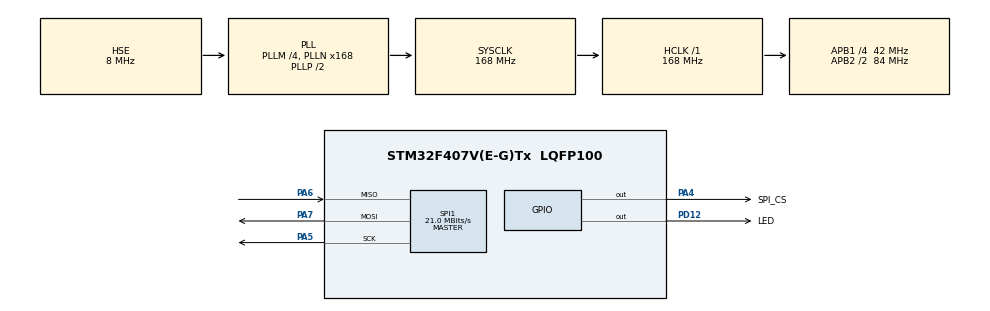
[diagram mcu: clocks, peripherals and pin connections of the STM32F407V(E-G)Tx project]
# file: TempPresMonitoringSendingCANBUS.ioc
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Mcu.Family=STM32F4
Mcu.Name=STM32F407V(E-G)Tx
Mcu.Package=LQFP100
NVIC.PriorityGroup=NVIC_PRIORITYGROUP_4
PA13.Mode=Serial_Wire
PA13.Signal=SYS_JTMS-SWDIO
PA14.Mode=Serial_Wire
PA14.Signal=SYS_JTCK-SWCLK
PA4.GPIO_Label=SPI_CS
PA4.PinState=GPIO_PIN_RESET
PA4.Signal=GPIO_Output
PA5.Mode=Full_Duplex_Master
PA5.Signal=SPI1_SCK
PA6.Mode=Full_Duplex_Master
PA6.Signal=SPI1_MISO
PA7.Mode=Full_Duplex_Master
PA7.Signal=SPI1_MOSI
PD12.GPIO_Label=LED
PD12.Signal=GPIO_Output
PH0-OSC_IN.Mode=HSE-External-Oscillator
PH0-OSC_IN.Signal=RCC_OSC_IN
PH1-OSC_OUT.Mode=HSE-External-Oscillator
PH1-OSC_OUT.Signal=RCC_OSC_OUT
ProjectManager.HeapSize=0x200
ProjectManager.StackSize=0x400
ProjectManager.TargetToolchain=STM32CubeIDE
RCC.48MHZClocksFreq_Value=84000000
RCC.AHBFreq_Value=168000000
RCC.APB1CLKDivider=RCC_HCLK_DIV4
RCC.APB1Freq_Value=42000000
RCC.APB1TimFreq_Value=84000000
RCC.APB2CLKDivider=RCC_HCLK_DIV2
RCC.APB2Freq_Value=84000000
RCC.APB2TimFreq_Value=168000000
RCC.CortexFreq_Value=168000000
RCC.HCLKFreq_Value=168000000
RCC.HSE_VALUE=8000000
RCC.HSI_VALUE=16000000
RCC.LSE_VALUE=32768
RCC.PLLM=4
RCC.PLLN=168
RCC.PLLSourceVirtual=RCC_PLLSOURCE_HSE
RCC.SYSCLKFreq_VALUE=168000000
RCC.SYSCLKSource=RCC_SYSCLKSOURCE_PLLCLK
RCC.VCOOutputFreq_Value=336000000
SPI1.BaudRatePrescaler=SPI_BAUDRATEPRESCALER_4
SPI1.CalculateBaudRate=21.0 MBits/s
SPI1.Direction=SPI_DIRECTION_2LINES
SPI1.Mode=SPI_MODE_MASTER
SPI1.VirtualType=VM_MASTER
board=custom

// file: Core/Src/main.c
/* USER CODE BEGIN Header */
/**
  ******************************************************************************
  * @file           : main.c
  * @brief          : Main program body
  ******************************************************************************
  * @attention
  *
  * Copyright (c) 2024 STMicroelectronics.
  * All rights reserved.
  *
  * This software is licensed under terms that can be found in the LICENSE file
  * in the root directory of this software component.
  * If no LICENSE file comes with this software, it is provided AS-IS.
  *
  ******************************************************************************
  */
/* USER CODE END Header */

#include "main.h"

/* USER CODE BEGIN Includes */

#include "stm32f4xx_hal.h"
#include "CAN_SPI.h"
#include "MCP2515.h"

uCAN_MSG txMessage;
uCAN_MSG rxMessage;

int returnVal = 0;
uint8_t controlVal = 0;

HAL_SPI_StateTypeDef spi_status;

/* USER CODE END Includes */

SPI_HandleTypeDef hspi1;

void SystemClock_Config(void);
static void MX_GPIO_Init(void);
static void MX_SPI1_Init(void);

int main(void)
{

  /* MCU Configuration--------------------------------------------------------*/

  /* Reset of all peripherals, Initializes the Flash interface and the Systick. */
  HAL_Init();

  /* Configure the system clock */
  SystemClock_Config();

  /* Initialize all configured peripherals */
  MX_GPIO_Init();
  MX_SPI1_Init();
  /* USER CODE BEGIN 2 */

  HAL_GPIO_WritePin(GPIOD,GPIO_PIN_12,GPIO_PIN_RESET);

  spi_status = HAL_SPI_GetState(SPI_CAN);

  if(spi_status != HAL_SPI_STATE_READY)
  {
	  HAL_GPIO_WritePin(GPIOD,GPIO_PIN_12,GPIO_PIN_SET);
	  while(1) {};
  }

  if(spi_status == HAL_SPI_STATE_READY)
  {
	  controlVal++;
  }

  /* USER CODE END 2 */

  /* Infinite loop */
  while (1)
  {

    /* USER CODE BEGIN 3 */
	  if(CANSPI_Receive(&rxMessage)){
	  	  if(rxMessage.frame.id == 0x36){
	  		  if(rxMessage.frame.data0 == 0){
	  			  HAL_GPIO_WritePin(GPIOD, GPIO_PIN_12, GPIO_PIN_SET);
	  		  }else{
	  			  HAL_GPIO_WritePin(GPIOD, GPIO_PIN_12, GPIO_PIN_RESET);
	  		  }
	  	  }

	  	  	HAL_Delay(100);
	  		txMessage.frame.idType = dSTANDARD_CAN_MSG_ID_2_0B;
	  		txMessage.frame.id = 0x0A;
	  		txMessage.frame.dlc = 8;
	  		txMessage.frame.data0 = 0;
	  		txMessage.frame.data1 = 1;
	  		txMessage.frame.data2 = 2;
	  		txMessage.frame.data3 = 3;
	  		txMessage.frame.data4 = 4;
	  		txMessage.frame.data5 = 5;
	  		txMessage.frame.data6 = 6;
	  		txMessage.frame.data7 = 7;
	  		CANSPI_Transmit(&txMessage);
	  	  }

	  }

  /* USER CODE END 3 */
}

void SystemClock_Config(void)
{
  RCC_OscInitTypeDef RCC_OscInitStruct = {0};
  RCC_ClkInitTypeDef RCC_ClkInitStruct = {0};

  /** Configure the main internal regulator output voltage
  */
  __HAL_RCC_PWR_CLK_ENABLE();
  __HAL_PWR_VOLTAGESCALING_CONFIG(PWR_REGULATOR_VOLTAGE_SCALE1);

  /** Initializes the RCC Oscillators according to the specified parameters
  * in the RCC_OscInitTypeDef structure.
  */
  RCC_OscInitStruct.OscillatorType = RCC_OSCILLATORTYPE_HSE;
  RCC_OscInitStruct.HSEState = RCC_HSE_ON;
  RCC_OscInitStruct.PLL.PLLState = RCC_PLL_ON;
  RCC_OscInitStruct.PLL.PLLSource = RCC_PLLSOURCE_HSE;
  RCC_OscInitStruct.PLL.PLLM = 4;
  RCC_OscInitStruct.PLL.PLLN = 168;
  RCC_OscInitStruct.PLL.PLLP = RCC_PLLP_DIV2;
  RCC_OscInitStruct.PLL.PLLQ = 4;
  if (HAL_RCC_OscConfig(&RCC_OscInitStruct) != HAL_OK)
  {
    Error_Handler();
  }

  /** Initializes the CPU, AHB and APB buses clocks
  */
  RCC_ClkInitStruct.ClockType = RCC_CLOCKTYPE_HCLK|RCC_CLOCKTYPE_SYSCLK
                              |RCC_CLOCKTYPE_PCLK1|RCC_CLOCKTYPE_PCLK2;
  RCC_ClkInitStruct.SYSCLKSource = RCC_SYSCLKSOURCE_PLLCLK;
  RCC_ClkInitStruct.AHBCLKDivider = RCC_SYSCLK_DIV1;
  RCC_ClkInitStruct.APB1CLKDivider = RCC_HCLK_DIV4;
  RCC_ClkInitStruct.APB2CLKDivider = RCC_HCLK_DIV2;

  if (HAL_RCC_ClockConfig(&RCC_ClkInitStruct, FLASH_LATENCY_5) != HAL_OK)
  {
    Error_Handler();
  }
}

static void MX_SPI1_Init(void)
{

  /* SPI1 parameter configuration*/
  hspi1.Instance = SPI1;
  hspi1.Init.Mode = SPI_MODE_MASTER;
  hspi1.Init.Direction = SPI_DIRECTION_2LINES;
  hspi1.Init.DataSize = SPI_DATASIZE_8BIT;
  hspi1.Init.CLKPolarity = SPI_POLARITY_LOW;
  hspi1.Init.CLKPhase = SPI_PHASE_1EDGE;
  hspi1.Init.NSS = SPI_NSS_SOFT;
  hspi1.Init.BaudRatePrescaler = SPI_BAUDRATEPRESCALER_2;
  hspi1.Init.FirstBit = SPI_FIRSTBIT_MSB;
  hspi1.Init.TIMode = SPI_TIMODE_DISABLE;
  hspi1.Init.CRCCalculation = SPI_CRCCALCULATION_DISABLE;
  hspi1.Init.CRCPolynomial = 10;
  if (HAL_SPI_Init(&hspi1) != HAL_OK)
  {
    Error_Handler();
  }

}

static void MX_GPIO_Init(void)
{
  GPIO_InitTypeDef GPIO_InitStruct = {0};

  /* GPIO Ports Clock Enable */
  __HAL_RCC_GPIOH_CLK_ENABLE();
  __HAL_RCC_GPIOA_CLK_ENABLE();
  __HAL_RCC_GPIOD_CLK_ENABLE();

  /*Configure GPIO pin Output Level */
  HAL_GPIO_WritePin(SPI_CS_GPIO_Port, SPI_CS_Pin, GPIO_PIN_SET);

  /*Configure GPIO pin Output Level */
  HAL_GPIO_WritePin(LED_GPIO_Port, LED_Pin, GPIO_PIN_RESET);

  /*Configure GPIO pin : SPI_CS_Pin */
  GPIO_InitStruct.Pin = SPI_CS_Pin;
  GPIO_InitStruct.Mode = GPIO_MODE_OUTPUT_PP;
  GPIO_InitStruct.Pull = GPIO_NOPULL;
  GPIO_InitStruct.Speed = GPIO_SPEED_FREQ_LOW;
  HAL_GPIO_Init(SPI_CS_GPIO_Port, &GPIO_InitStruct);

  /*Configure GPIO pin : LED_Pin */
  GPIO_InitStruct.Pin = LED_Pin;
  GPIO_InitStruct.Mode = GPIO_MODE_OUTPUT_PP;
  GPIO_InitStruct.Pull = GPIO_NOPULL;
  GPIO_InitStruct.Speed = GPIO_SPEED_FREQ_LOW;
  HAL_GPIO_Init(LED_GPIO_Port, &GPIO_InitStruct);

}

void Error_Handler(void)
{
  __disable_irq();
  while (1)
  {
  }
}
